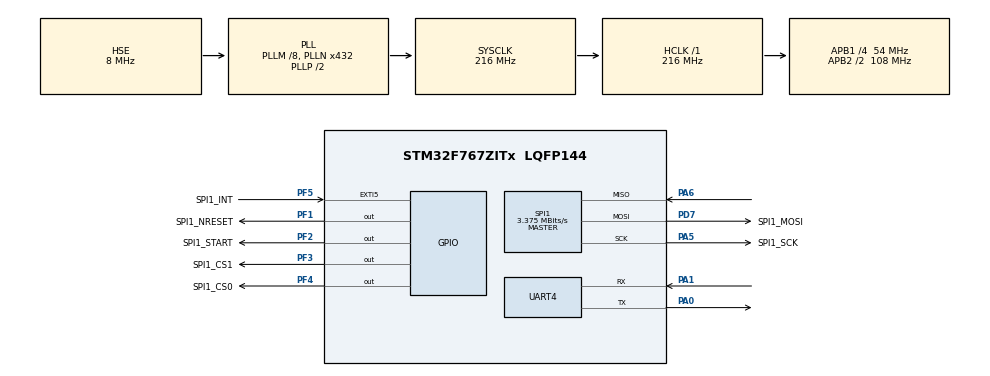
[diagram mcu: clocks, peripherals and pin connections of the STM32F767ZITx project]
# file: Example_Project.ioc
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Dma.Request0=SPI1_TX
Dma.Request1=SPI1_RX
Dma.SPI1_RX.1.Direction=DMA_PERIPH_TO_MEMORY
Dma.SPI1_RX.1.FIFOMode=DMA_FIFOMODE_DISABLE
Dma.SPI1_RX.1.Instance=DMA2_Stream0
Dma.SPI1_RX.1.MemDataAlignment=DMA_MDATAALIGN_BYTE
Dma.SPI1_RX.1.MemInc=DMA_MINC_ENABLE
Dma.SPI1_RX.1.Mode=DMA_NORMAL
Dma.SPI1_RX.1.PeriphDataAlignment=DMA_PDATAALIGN_BYTE
Dma.SPI1_RX.1.PeriphInc=DMA_PINC_DISABLE
Dma.SPI1_RX.1.Priority=DMA_PRIORITY_LOW
Dma.SPI1_TX.0.Direction=DMA_MEMORY_TO_PERIPH
Dma.SPI1_TX.0.FIFOMode=DMA_FIFOMODE_DISABLE
Dma.SPI1_TX.0.Instance=DMA2_Stream3
Dma.SPI1_TX.0.MemDataAlignment=DMA_MDATAALIGN_BYTE
Dma.SPI1_TX.0.MemInc=DMA_MINC_ENABLE
Dma.SPI1_TX.0.Mode=DMA_NORMAL
Dma.SPI1_TX.0.PeriphDataAlignment=DMA_PDATAALIGN_BYTE
Dma.SPI1_TX.0.PeriphInc=DMA_PINC_DISABLE
Dma.SPI1_TX.0.Priority=DMA_PRIORITY_HIGH
FREERTOS.Tasks01=defaultTask,24,512,StartDefaultTask,Default,NULL,Dynamic,NULL,NULL
FREERTOS.configENABLE_FPU=1
FREERTOS.configMINIMAL_STACK_SIZE=512
Mcu.Family=STM32F7
Mcu.Name=STM32F767ZITx
Mcu.Package=LQFP144
NVIC.DMA2_Stream0_IRQn=true\:5\:0\:false\:false\:true\:true\:false\:true
NVIC.DMA2_Stream3_IRQn=true\:5\:0\:false\:false\:true\:true\:false\:true
NVIC.EXTI9_5_IRQn=true\:5\:0\:false\:false\:true\:true\:true\:true
NVIC.PriorityGroup=NVIC_PRIORITYGROUP_4
NVIC.TIM2_IRQn=true\:0\:0\:false\:false\:true\:false\:false\:true
NVIC.TimeBase=TIM2_IRQn
NVIC.TimeBaseIP=TIM2
NVIC.UART4_IRQn=true\:5\:0\:false\:false\:true\:true\:true\:true
PA0/WKUP.Mode=Asynchronous
PA0/WKUP.Signal=UART4_TX
PA1.Mode=Asynchronous
PA1.Signal=UART4_RX
PA5.GPIO_Label=SPI1_SCK
PA5.Mode=Full_Duplex_Master
PA5.Signal=SPI1_SCK
PA6.Mode=Full_Duplex_Master
PA6.Signal=SPI1_MISO
PC14/OSC32_IN.Mode=LSE-External-Oscillator
PC14/OSC32_IN.Signal=RCC_OSC32_IN
PC15/OSC32_OUT.Mode=LSE-External-Oscillator
PC15/OSC32_OUT.Signal=RCC_OSC32_OUT
PD7.GPIO_Label=SPI1_MOSI
PD7.Mode=Full_Duplex_Master
PD7.Signal=SPI1_MOSI
PF1.GPIO_Label=SPI1_NRESET
PF1.Signal=GPIO_Output
PF2.GPIO_Label=SPI1_START
PF2.Signal=GPIO_Output
PF3.GPIO_Label=SPI1_CS1
PF3.Signal=GPIO_Output
PF4.GPIO_Label=SPI1_CS0
PF4.Signal=GPIO_Output
PF5.GPIO_Label=SPI1_INT
PF5.Signal=GPXTI5
PH0/OSC_IN.Mode=HSE-External-Clock-Source
PH0/OSC_IN.Signal=RCC_OSC_IN
PH1/OSC_OUT.Mode=HSE-External-Clock-Source
PH1/OSC_OUT.Signal=RCC_OSC_OUT
ProjectManager.HeapSize=0x200
ProjectManager.StackSize=0x400
ProjectManager.TargetToolchain=Makefile
RCC.AHBFreq_Value=216000000
RCC.APB1CLKDivider=RCC_HCLK_DIV4
RCC.APB1Freq_Value=54000000
RCC.APB1TimFreq_Value=108000000
RCC.APB2CLKDivider=RCC_HCLK_DIV2
RCC.APB2Freq_Value=108000000
RCC.APB2TimCLKDivider=2
RCC.APB2TimFreq_Value=216000000
RCC.CortexFreq_Value=216000000
RCC.HCLKFreq_Value=216000000
RCC.HSE_VALUE=8000000
RCC.HSI_VALUE=16000000
RCC.PLLM=8
RCC.PLLN=432
RCC.PLLSourceVirtual=RCC_PLLSOURCE_HSE
RCC.SYSCLKFreq_VALUE=216000000
RCC.SYSCLKSource=RCC_SYSCLKSOURCE_PLLCLK
RCC.USBFreq_Value=216000000
RCC.VCOOutputFreq_Value=432000000
SPI1.BaudRatePrescaler=SPI_BAUDRATEPRESCALER_32
SPI1.CLKPhase=SPI_PHASE_2EDGE
SPI1.CLKPolarity=SPI_POLARITY_LOW
SPI1.CalculateBaudRate=3.375 MBits/s
SPI1.DataSize=SPI_DATASIZE_8BIT
SPI1.Direction=SPI_DIRECTION_2LINES
SPI1.Mode=SPI_MODE_MASTER
SPI1.VirtualType=VM_MASTER
VP_FREERTOS_VS_CMSIS_V2.Mode=CMSIS_V2
VP_SYS_VS_tim2.Mode=TIM2
board=custom

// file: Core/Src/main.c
/* USER CODE BEGIN Header */
/**
  ******************************************************************************
  * @file           : main.c
  * @brief          : Main program body
  ******************************************************************************
  * @attention
  *
  * <h2><center>&copy; Copyright (c) 2021 STMicroelectronics.
  * All rights reserved.</center></h2>
  *
  * This software component is licensed by ST under Ultimate Liberty license
  * SLA0044, the "License"; You may not use this file except in compliance with
  * the License. You may obtain a copy of the License at:
  *                             www.st.com/SLA0044
  *
  ******************************************************************************
  */
/* USER CODE END Header */
#include "main.h"
#include "cmsis_os.h"

/* USER CODE BEGIN Includes */
#include "ADS131E08.h"
#include "string.h"
#include "stdio.h"
/* USER CODE END Includes */

SPI_HandleTypeDef hspi1;
DMA_HandleTypeDef hdma_spi1_tx;
DMA_HandleTypeDef hdma_spi1_rx;

UART_HandleTypeDef huart4;

/* Definitions for defaultTask */
osThreadId_t defaultTaskHandle;
const osThreadAttr_t defaultTask_attributes = {
  .name = "defaultTask",
  .priority = (osPriority_t) osPriorityNormal,
  .stack_size = 512 * 4
};

void SystemClock_Config(void);
static void MX_GPIO_Init(void);
static void MX_DMA_Init(void);
static void MX_SPI1_Init(void);
static void MX_UART4_Init(void);
void StartDefaultTask(void *argument);

int main(void)
{

  /* MCU Configuration--------------------------------------------------------*/

  /* Reset of all peripherals, Initializes the Flash interface and the Systick. */
  HAL_Init();

  /* Configure the system clock */
  SystemClock_Config();

  /* Initialize all configured peripherals */
  MX_GPIO_Init();
  MX_DMA_Init();
  MX_SPI1_Init();
  MX_UART4_Init();
  /* USER CODE BEGIN 2 */

  // ADC1, ADC2, VCAP1 > 1.1v takes about 1.3 seconds, 2 seconds delay to be stable status
  HAL_Delay(2000);

  ADS131E08_init(ADS131E08_ADC20, &hspi1);
  ADS131E08_init(ADS131E08_ADC21, &hspi1);

  // Initialize signal(CS, START, nRESET)
  ADS131E08_initialize_signal();
  HAL_Delay(500);

  // Start up
  ADS131E08_startup(ADS131E08_ADC20);
  ADS131E08_startup(ADS131E08_ADC21);

  // Set start signal in initial flow at power up
  ADS131E08_control_start_signal(SET_SIGNAL);

  /* USER CODE END 2 */

  /* Init scheduler */
  osKernelInitialize();

  /* Create the thread(s) */
  /* creation of defaultTask */
  defaultTaskHandle = osThreadNew(StartDefaultTask, NULL, &defaultTask_attributes);

  /* Start scheduler */
  osKernelStart();

  /* We should never get here as control is now taken by the scheduler */
  /* Infinite loop */
  while (1)
  {

  }
}

void SystemClock_Config(void)
{
  RCC_OscInitTypeDef RCC_OscInitStruct = {0};
  RCC_ClkInitTypeDef RCC_ClkInitStruct = {0};
  RCC_PeriphCLKInitTypeDef PeriphClkInitStruct = {0};

  /** Configure LSE Drive Capability
  */
  HAL_PWR_EnableBkUpAccess();
  /** Configure the main internal regulator output voltage
  */
  __HAL_RCC_PWR_CLK_ENABLE();
  __HAL_PWR_VOLTAGESCALING_CONFIG(PWR_REGULATOR_VOLTAGE_SCALE1);
  /** Initializes the RCC Oscillators according to the specified parameters
  * in the RCC_OscInitTypeDef structure.
  */
  RCC_OscInitStruct.OscillatorType = RCC_OSCILLATORTYPE_HSE;
  RCC_OscInitStruct.HSEState = RCC_HSE_BYPASS;
  RCC_OscInitStruct.PLL.PLLState = RCC_PLL_ON;
  RCC_OscInitStruct.PLL.PLLSource = RCC_PLLSOURCE_HSE;
  RCC_OscInitStruct.PLL.PLLM = 8;
  RCC_OscInitStruct.PLL.PLLN = 432;
  RCC_OscInitStruct.PLL.PLLP = RCC_PLLP_DIV2;
  RCC_OscInitStruct.PLL.PLLQ = 2;
  if (HAL_RCC_OscConfig(&RCC_OscInitStruct) != HAL_OK)
  {
    Error_Handler();
  }
  /** Activate the Over-Drive mode
  */
  if (HAL_PWREx_EnableOverDrive() != HAL_OK)
  {
    Error_Handler();
  }
  /** Initializes the CPU, AHB and APB buses clocks
  */
  RCC_ClkInitStruct.ClockType = RCC_CLOCKTYPE_HCLK|RCC_CLOCKTYPE_SYSCLK
                              |RCC_CLOCKTYPE_PCLK1|RCC_CLOCKTYPE_PCLK2;
  RCC_ClkInitStruct.SYSCLKSource = RCC_SYSCLKSOURCE_PLLCLK;
  RCC_ClkInitStruct.AHBCLKDivider = RCC_SYSCLK_DIV1;
  RCC_ClkInitStruct.APB1CLKDivider = RCC_HCLK_DIV4;
  RCC_ClkInitStruct.APB2CLKDivider = RCC_HCLK_DIV2;

  if (HAL_RCC_ClockConfig(&RCC_ClkInitStruct, FLASH_LATENCY_7) != HAL_OK)
  {
    Error_Handler();
  }
  PeriphClkInitStruct.PeriphClockSelection = RCC_PERIPHCLK_UART4;
  PeriphClkInitStruct.Uart4ClockSelection = RCC_UART4CLKSOURCE_PCLK1;
  if (HAL_RCCEx_PeriphCLKConfig(&PeriphClkInitStruct) != HAL_OK)
  {
    Error_Handler();
  }
}

static void MX_SPI1_Init(void)
{

  /* SPI1 parameter configuration*/
  hspi1.Instance = SPI1;
  hspi1.Init.Mode = SPI_MODE_MASTER;
  hspi1.Init.Direction = SPI_DIRECTION_2LINES;
  hspi1.Init.DataSize = SPI_DATASIZE_8BIT;
  hspi1.Init.CLKPolarity = SPI_POLARITY_LOW;
  hspi1.Init.CLKPhase = SPI_PHASE_2EDGE;
  hspi1.Init.NSS = SPI_NSS_SOFT;
  hspi1.Init.BaudRatePrescaler = SPI_BAUDRATEPRESCALER_32;
  hspi1.Init.FirstBit = SPI_FIRSTBIT_MSB;
  hspi1.Init.TIMode = SPI_TIMODE_DISABLE;
  hspi1.Init.CRCCalculation = SPI_CRCCALCULATION_DISABLE;
  hspi1.Init.CRCPolynomial = 7;
  hspi1.Init.CRCLength = SPI_CRC_LENGTH_DATASIZE;
  hspi1.Init.NSSPMode = SPI_NSS_PULSE_DISABLE;
  if (HAL_SPI_Init(&hspi1) != HAL_OK)
  {
    Error_Handler();
  }

}

static void MX_UART4_Init(void)
{

  huart4.Instance = UART4;
  huart4.Init.BaudRate = 115200;
  huart4.Init.WordLength = UART_WORDLENGTH_8B;
  huart4.Init.StopBits = UART_STOPBITS_1;
  huart4.Init.Parity = UART_PARITY_NONE;
  huart4.Init.Mode = UART_MODE_TX_RX;
  huart4.Init.HwFlowCtl = UART_HWCONTROL_NONE;
  huart4.Init.OverSampling = UART_OVERSAMPLING_16;
  huart4.Init.OneBitSampling = UART_ONE_BIT_SAMPLE_DISABLE;
  huart4.AdvancedInit.AdvFeatureInit = UART_ADVFEATURE_NO_INIT;
  if (HAL_UART_Init(&huart4) != HAL_OK)
  {
    Error_Handler();
  }

}

static void MX_DMA_Init(void)
{

  /* DMA controller clock enable */
  __HAL_RCC_DMA2_CLK_ENABLE();

  /* DMA interrupt init */
  /* DMA2_Stream0_IRQn interrupt configuration */
  HAL_NVIC_SetPriority(DMA2_Stream0_IRQn, 5, 0);
  HAL_NVIC_EnableIRQ(DMA2_Stream0_IRQn);
  /* DMA2_Stream3_IRQn interrupt configuration */
  HAL_NVIC_SetPriority(DMA2_Stream3_IRQn, 5, 0);
  HAL_NVIC_EnableIRQ(DMA2_Stream3_IRQn);

}

static void MX_GPIO_Init(void)
{
  GPIO_InitTypeDef GPIO_InitStruct = {0};

  /* GPIO Ports Clock Enable */
  __HAL_RCC_GPIOC_CLK_ENABLE();
  __HAL_RCC_GPIOF_CLK_ENABLE();
  __HAL_RCC_GPIOH_CLK_ENABLE();
  __HAL_RCC_GPIOA_CLK_ENABLE();
  __HAL_RCC_GPIOD_CLK_ENABLE();

  /*Configure GPIO pin Output Level */
  HAL_GPIO_WritePin(GPIOF, SPI1_NRESET_Pin|SPI1_START_Pin|SPI1_CS1_Pin|SPI1_CS0_Pin, GPIO_PIN_RESET);

  /*Configure GPIO pins : SPI1_NRESET_Pin SPI1_START_Pin SPI1_CS1_Pin SPI1_CS0_Pin */
  GPIO_InitStruct.Pin = SPI1_NRESET_Pin|SPI1_START_Pin|SPI1_CS1_Pin|SPI1_CS0_Pin;
  GPIO_InitStruct.Mode = GPIO_MODE_OUTPUT_PP;
  GPIO_InitStruct.Pull = GPIO_NOPULL;
  GPIO_InitStruct.Speed = GPIO_SPEED_FREQ_LOW;
  HAL_GPIO_Init(GPIOF, &GPIO_InitStruct);

  /*Configure GPIO pin : SPI1_INT_Pin */
  GPIO_InitStruct.Pin = SPI1_INT_Pin;
  GPIO_InitStruct.Mode = GPIO_MODE_IT_RISING;
  GPIO_InitStruct.Pull = GPIO_NOPULL;
  HAL_GPIO_Init(SPI1_INT_GPIO_Port, &GPIO_InitStruct);

  /* EXTI interrupt init*/
  HAL_NVIC_SetPriority(EXTI9_5_IRQn, 5, 0);
  HAL_NVIC_EnableIRQ(EXTI9_5_IRQn);

}

void StartDefaultTask(void *argument)
{
  /* USER CODE BEGIN 5 */
  char str[1000];
  memset(str, 0, strlen(str));
  /* Infinite loop */
  for(;;)
  {
    memset(str, 0, strlen(str));
    sprintf(str, "ADC20 Information\r\nCH1: %f\r\nCH2: %f\r\nCH3: %f\r\nCH4: %f\r\nCH5: %f\r\nCH6: %f\r\nCH7: %f\r\nCH8: %f\r\n\r\nADC21 Information\r\nCH1: %f\r\nCH2: %f\r\nCH3: %f\r\nCH4: %f\r\nCH5: %f\r\nCH6: %f\r\nCH7: %f\r\nCH8: %f\r\n\r\n", adcConfE0->chData[0].v, adcConfE0->chData[1].v, adcConfE0->chData[2].v, adcConfE0->chData[3].v, adcConfE0->chData[4].v, adcConfE0->chData[5].v, adcConfE0->chData[6].v, adcConfE0->chData[7].v, adcConfE1->chData[0].v, adcConfE1->chData[1].v, adcConfE1->chData[2].v, adcConfE1->chData[3].v, adcConfE1->chData[4].v, adcConfE1->chData[5].v, adcConfE1->chData[6].v, adcConfE1->chData[7].v);
    HAL_UART_Transmit(&huart4, (uint8_t*)str, strlen(str), 500);
  }
  /* USER CODE END 5 */
}

 /**
  * @brief  Period elapsed callback in non blocking mode
  * @note   This function is called  when TIM2 interrupt took place, inside
  * HAL_TIM_IRQHandler(). It makes a direct call to HAL_IncTick() to increment
  * a global variable "uwTick" used as application time base.
  * @param  htim : TIM handle
  * @retval None
  */
void HAL_TIM_PeriodElapsedCallback(TIM_HandleTypeDef *htim)
{
  if (htim->Instance == TIM2) {
    HAL_IncTick();
  }
}

void Error_Handler(void)
{
  __disable_irq();
  while (1)
  {
  }
}

/************************ (C) COPYRIGHT STMicroelectronics *****END OF FILE****/
